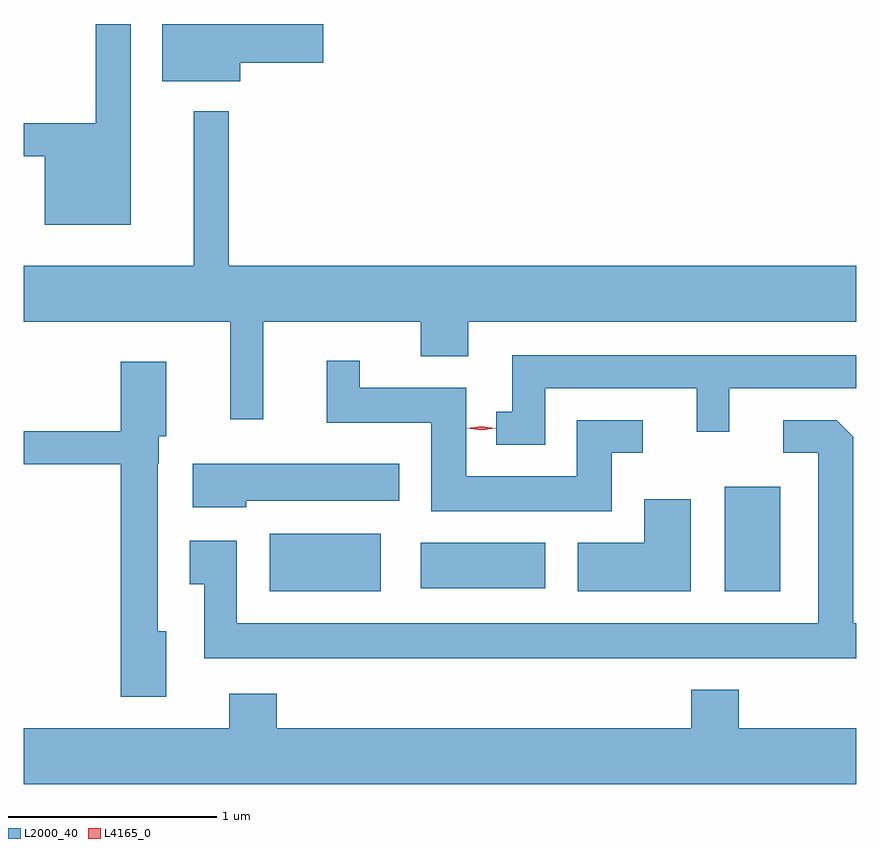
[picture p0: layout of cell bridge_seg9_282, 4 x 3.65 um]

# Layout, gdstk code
import gdstk
lib = gdstk.Library(unit=1e-6, precision=1e-09)
def R(c, l, rs):  # rectangles x0, y0, x1, y1
    for r in rs: c.add(gdstk.rectangle(r[:2], r[2:], *l))
def P(c, l, *ps):  # polygons
    for p in ps: c.add(gdstk.Polygon(p, *l))
L2000_40 = (2000, 40)
L4165_0 = (4165, 0)

bridge_seg9_282 = lib.new_cell('bridge_seg9_282')
R(bridge_seg9_282, L2000_40, [(1004.106,2046.021,1004.639,2046.299), (1006.291,2046.021,1006.559,2046.524), (1004.831,2046.036,1005.429,2046.254)])
P(bridge_seg9_282, L2000_40, [(1003.439,2048.746),(1003.271,2048.746),(1003.271,2048.269),(1002.924,2048.269),(1002.924,2048.111),(1003.026,2048.111),(1003.026,2047.781),(1003.439,2047.781)],
  [(1003.964,2048.561),(1004.364,2048.561),(1004.364,2048.746),(1003.591,2048.746),(1003.591,2048.471),(1003.964,2048.471)],
  [(1004.074,2047.316),(1004.831,2047.316),(1004.831,2047.151),(1005.059,2047.151),(1005.059,2047.316),(1006.924,2047.316),(1006.924,2047.584),(1003.909,2047.584),(1003.909,2048.327),(1003.741,2048.327),(1003.741,2047.584),(1002.924,2047.584),(1002.924,2047.316),(1003.916,2047.316),(1003.916,2046.848),(1004.074,2046.848)],
  [(1005.429,2046.996),(1006.156,2046.996),(1006.156,2046.788),(1006.314,2046.788),(1006.314,2046.996),(1006.924,2046.996),(1006.924,2047.154),(1005.271,2047.154),(1005.271,2046.884),(1005.193,2046.884),(1005.193,2046.726),(1005.429,2046.726)],
  [(1005.749,2046.686),(1005.898,2046.686),(1005.898,2046.844),(1005.581,2046.844),(1005.581,2046.574),(1005.049,2046.574),(1005.049,2046.999),(1004.539,2046.999),(1004.539,2047.128),(1004.381,2047.128),(1004.381,2046.831),(1004.881,2046.831),(1004.881,2046.406),(1005.749,2046.406)],
  [(1003.609,2045.829),(1003.569,2045.829),(1003.569,2046.635),(1003.574,2046.635),(1003.574,2046.766),(1003.609,2046.766),(1003.609,2047.124),(1003.391,2047.124),(1003.391,2046.789),(1002.924,2046.789),(1002.924,2046.631),(1003.391,2046.631),(1003.391,2045.516),(1003.609,2045.516)],
  [(1006.924,2045.869),(1006.909,2045.869),(1006.909,2046.764),(1006.829,2046.844),(1006.573,2046.844),(1006.573,2046.686),(1006.741,2046.686),(1006.741,2045.869),(1003.949,2045.869),(1003.949,2046.264),(1003.721,2046.264),(1003.721,2046.056),(1003.791,2046.056),(1003.791,2045.701),(1006.924,2045.701)],
  [(1003.994,2046.456),(1004.729,2046.456),(1004.729,2046.634),(1003.736,2046.634),(1003.736,2046.426),(1003.994,2046.426)],
  [(1006.129,2046.464),(1005.906,2046.464),(1005.906,2046.254),(1005.586,2046.254),(1005.586,2046.021),(1006.129,2046.021)],
  [(1006.924,2045.364),(1006.359,2045.364),(1006.359,2045.549),(1006.131,2045.549),(1006.131,2045.364),(1004.139,2045.364),(1004.139,2045.529),(1003.911,2045.529),(1003.911,2045.364),(1002.924,2045.364),(1002.924,2045.096),(1006.924,2045.096)])
P(bridge_seg9_282, L4165_0, [(1005.121,2046.795),(1005.052,2046.804),(1005.052,2046.804),(1005.052,2046.805),(1005.121,2046.814),(1005.191,2046.805),(1005.191,2046.805),(1005.191,2046.804)])

lib.write_gds('bridge_seg9_282.gds')
